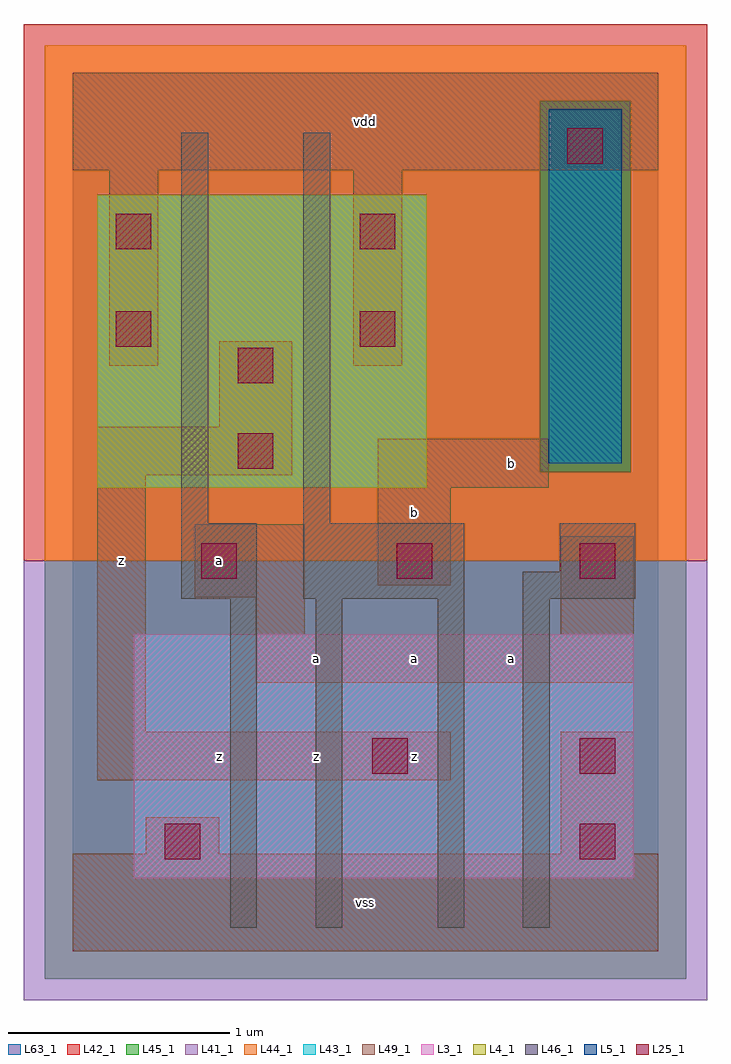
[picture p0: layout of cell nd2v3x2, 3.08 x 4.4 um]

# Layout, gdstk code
import gdstk
lib = gdstk.Library(unit=1e-6, precision=1e-09)
def R(c, l, rs):  # rectangles x0, y0, x1, y1
    for r in rs: c.add(gdstk.rectangle(r[:2], r[2:], *l))
L3_1 = (3, 1)
L4_1 = (4, 1)
L5_1 = (5, 1)
L25_1 = (25, 1)
L41_1 = (41, 1)
L42_1 = (42, 1)
L43_1 = (43, 1)
L44_1 = (44, 1)
L45_1 = (45, 1)
L46_1 = (46, 1)
L49_1 = (49, 1)
L63_1 = (63, 1)

nd2v3x2 = lib.new_cell('nd2v3x2')
R(nd2v3x2, L3_1, [(0.275,0.33,2.53,1.43)])
R(nd2v3x2, L4_1, [(0.11,2.09,1.595,3.41)])
R(nd2v3x2, L5_1, [(2.145,2.2,2.475,3.795)])
R(nd2v3x2, L25_1, [(0.415,0.415,0.575,0.575), (2.285,0.415,2.445,0.575), (1.35,0.8,1.51,0.96), (2.285,0.8,2.445,0.96), (0.58,1.68,0.74,1.84), (1.46,1.68,1.62,1.84), (2.285,1.68,2.445,1.84), (0.745,2.175,0.905,2.335), (0.745,2.56,0.905,2.72), (0.195,2.725,0.355,2.885), (1.295,2.725,1.455,2.885), (0.195,3.165,0.355,3.325), (1.295,3.165,1.455,3.325), (2.23,3.55,2.39,3.71)])
R(nd2v3x2, L41_1, [(-0.22,-0.22,2.86,1.76)])
R(nd2v3x2, L42_1, [(-0.22,1.76,2.86,4.18)])
R(nd2v3x2, L43_1, [(0.275,0.33,2.53,1.43), (0.11,2.09,1.595,3.41), (2.145,2.2,2.475,3.795)])
R(nd2v3x2, L44_1, [(-0.125,1.76,2.765,2.16), (-0.125,2.16,2.105,3.835), (2.515,2.16,2.765,3.835), (-0.125,3.835,2.765,4.085)])
R(nd2v3x2, L45_1, [(-0.125,-0.125,2.765,1.76), (2.105,2.16,2.515,3.835)])
R(nd2v3x2, L46_1, [(0.71,0.105,0.83,1.59), (1.095,0.105,1.215,1.59), (1.645,0.105,1.765,1.59), (2.03,0.105,2.15,1.59), (0.49,1.59,0.83,1.93), (1.04,1.59,1.765,1.93), (2.03,1.59,2.535,1.71), (2.195,1.71,2.535,1.93), (0.49,1.93,0.61,3.69), (1.04,1.93,1.16,3.69)])
R(nd2v3x2, L49_1, [(0,0,2.64,0.44), (0.33,0.44,0.66,0.605), (2.2,0.44,2.53,0.99), (0.11,0.77,1.705,0.99), (0.11,0.99,0.33,2.145), (0.825,1.21,2.53,1.43), (0.825,1.43,1.045,1.595), (2.2,1.43,2.53,1.87), (0.55,1.595,1.045,1.925), (1.375,1.65,1.705,2.09), (1.375,2.09,2.145,2.31), (0.11,2.145,0.99,2.365), (0.66,2.365,0.99,2.75), (0.165,2.64,0.385,3.52), (1.265,2.64,1.485,3.52), (0,3.52,2.64,3.96)])
R(nd2v3x2, L63_1, [(0,0,2.64,3.96)])
nd2v3x2.add(gdstk.Label('z', (0.22,1.76), layer=49, texttype=1))
nd2v3x2.add(gdstk.Label('z', (1.1,0.88), layer=49, texttype=1))
nd2v3x2.add(gdstk.Label('z', (0.66,0.88), layer=49, texttype=1))
nd2v3x2.add(gdstk.Label('a', (0.66,1.76), layer=49, texttype=1))
nd2v3x2.add(gdstk.Label('a', (1.1,1.32), layer=49, texttype=1))
nd2v3x2.add(gdstk.Label('vss', (1.32,0.22), layer=49, texttype=1))
nd2v3x2.add(gdstk.Label('z', (1.54,0.88), layer=49, texttype=1))
nd2v3x2.add(gdstk.Label('a', (1.54,1.32), layer=49, texttype=1))
nd2v3x2.add(gdstk.Label('b', (1.54,1.98), layer=49, texttype=1))
nd2v3x2.add(gdstk.Label('vdd', (1.32,3.74), layer=49, texttype=1))
nd2v3x2.add(gdstk.Label('a', (1.98,1.32), layer=49, texttype=1))
nd2v3x2.add(gdstk.Label('b', (1.98,2.2), layer=49, texttype=1))

lib.write_gds('nd2v3x2.gds')
